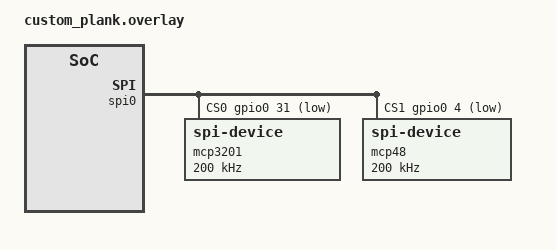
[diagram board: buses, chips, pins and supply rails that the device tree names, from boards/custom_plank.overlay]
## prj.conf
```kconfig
CONFIG_LOG=y
CONFIG_GPIO=y
CONFIG_SPI=y

CONFIG_SHELL=y
CONFIG_LOG_MODE_IMMEDIATE=y
```

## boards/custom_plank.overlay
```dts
/{
    aliases {
        spibus = &spi0;
    };
};

&spi0 {
    status = "okay";

    cs-gpios = <&gpio0 31 GPIO_ACTIVE_LOW>, <&gpio0 4 GPIO_ACTIVE_LOW>;

    mcp3201: mcp3201@0 {
        compatible = "spi-device";
        spi-max-frequency = <200000>;
        reg = <0>;
    };

    mcp48: mcp48@1 {
        compatible = "spi-device";
        spi-max-frequency = <200000>;
        reg = <1>;
    };
};
```

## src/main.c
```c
#include <zephyr/kernel.h>
#include <zephyr/drivers/gpio.h>
#include <zephyr/logging/log.h>
#include <zephyr/drivers/spi.h>
#include <zephyr/shell/shell.h>
#include <stdlib.h>

#define SPI_BUS DT_NODELABEL(spi0)
#define SPI_OP SPI_OP_MODE_MASTER | SPI_WORD_SET(8) | SPI_TRANSFER_MSB 
#define DAC_LDAC DT_NODELABEL(dac_ldac)

#define AMUX_EN DT_NODELABEL(amux_en)
#define AMUX_A0 DT_NODELABEL(amux_a0)
#define AMUX_A1 DT_NODELABEL(amux_a1)

LOG_MODULE_REGISTER(main);

static float current_dac[2] = {0.0f, 0.0f};
static float voltage_mode_offsets[3] = {0.0f, 0.0f, 0.0f}; // offsets for modes 0, 1, 2
static int amux_mode = 0; 
static bool continuous_sampling = false;
static K_THREAD_STACK_DEFINE(sampling_stack, 1024);
static struct k_thread sampling_thread;
static k_tid_t sampling_tid; 

void write_dac_channel(const struct device *spi_dev, int channel, float voltage, float vref)
{
	// Validate channel value
	if (channel < 0 || channel > 1)
	{
		LOG_ERR("Invalid DAC channel: %d", channel);
		return;
	}

	// Calculate DAC code based on voltage and reference (10-bit resolution)
	uint16_t code = (uint16_t)((voltage / vref) * 1023.0f);
	
	// Build command: shift channel into position and split code into two bytes
	uint8_t addr = channel << 3 | 0b00 << 1;
	uint8_t cmd[3] = { addr, (uint8_t)((code >> 8) & 0x03), (uint8_t)(code & 0xFF) };

    struct spi_buf tx_buf = { .buf = cmd, .len = sizeof(cmd) };
    struct spi_buf_set tx_bufs = { .buffers = &tx_buf, .count = 1 };

    const struct spi_config spi_cfg = {
        .frequency = DT_PROP(SPI_BUS, clock_frequency),
        .operation = SPI_OP,
        .cs = SPI_CS_CONTROL_INIT(DT_NODELABEL(mcp48), 0U),
    };

    int ret = spi_write(spi_dev, &spi_cfg, &tx_bufs);
    if (ret) {
        LOG_ERR("spi_write failed: %d", ret);
    }
}

void read_adc(const struct device *spi_dev, float *voltage, float vref)
{

	uint8_t rx_buf[2] = {0};
	struct spi_buf rx_bufs = {.buf = rx_buf, .len = sizeof(rx_buf)};
	struct spi_buf_set rx_set = {.buffers = &rx_bufs, .count = 1};

	const struct spi_config spi_cfg = {
		.frequency = DT_PROP(SPI_BUS, clock_frequency),
		.operation = SPI_OP,
		.cs = SPI_CS_CONTROL_INIT(DT_NODELABEL(mcp3201), 0U),
	};

	int ret = spi_read(spi_dev, &spi_cfg, &rx_set);
	if (ret)
	{
		LOG_ERR("spi_read failed: %d", ret);
		return;
	}

	// Process received ADC value
	uint16_t adc_code = rx_buf[0] << 8 | rx_buf[1];
	adc_code = adc_code;
	// print out hex code 0xXXX
	// LOG_INF("ADC Code: 0x%03X", adc_code);

	*voltage = ((float)adc_code / 8192.0f) * vref;

	// LOG_INF("ADC Voltage: %.3f V", *voltage);

	return;
}

float voltage = 0.0f;

static int handle_shell_write_dac(const struct shell *shell, size_t argc, char **argv)
{

	if (argc != 3)
	{
		shell_print(shell, "Usage: dac write <channel> <voltage>");
		shell_print(shell, "       channel: 0 or 1");
		shell_print(shell, "       voltage: voltage value in range 0-3.3V");
		return -1;
	}

	int channel = atoi(argv[1]);
	
	// Parse the voltage value
	double voltage = atof(argv[2]);
	if (voltage < 0.0 || voltage > 3.3) {
		shell_print(shell, "Warning: Voltage %.3f V is outside the recommended range (0-3.3V)", voltage);
	}
	
	struct device *spi_dev = DEVICE_DT_GET(SPI_BUS);
	write_dac_channel(spi_dev, channel, (float)voltage, 3.3f);
	
	// Calculate code for display purposes (10-bit DAC)
	uint16_t code = (uint16_t)((voltage / 3.3f) * 1023.0f);

	// ldac pulse
	struct gpio_dt_spec dac_ldac = GPIO_DT_SPEC_GET(DAC_LDAC, gpios);
	gpio_pin_set_dt(&dac_ldac, 0);
	k_msleep(10);
	gpio_pin_set_dt(&dac_ldac, 1);
	k_msleep(10);
	gpio_pin_set_dt(&dac_ldac, 0);

	// Update the global DAC configuration and print out the current settings
	if (channel >= 0 && channel < 2) {
		current_dac[channel] = (float)voltage;
	}
	shell_print(shell, "DAC Channel %d set to %.3f V (10-bit code: %u)", 
		channel, voltage, code);
	shell_print(shell, "Current DAC configuration: Channel 0: %.3f V, Channel 1: %.3f V", 
		current_dac[0], current_dac[1]);

	return 0;
}

static int handle_shell_read_dac(const struct shell *shell, size_t argc, char **argv)
{
	shell_print(shell, "Current DAC configuration: Channel 0: %.3f V, Channel 1: %.3f V", current_dac[0], current_dac[1]);
	return 0;
}

SHELL_STATIC_SUBCMD_SET_CREATE(sub_dac,
	SHELL_CMD(write, NULL, "Set DAC: <channel> <voltage>", handle_shell_write_dac),
	SHELL_CMD(read, NULL, "Show current DAC configuration", handle_shell_read_dac),
	SHELL_SUBCMD_SET_END
);

SHELL_CMD_REGISTER(dac, &sub_dac, "DAC commands", NULL);

static int handle_shell_read_adc(const struct shell *shell, size_t argc, char **argv)
{
	struct device *spi_dev = DEVICE_DT_GET(SPI_BUS);
	float adc_voltage = 0.0f;
	read_adc(spi_dev, &adc_voltage, 2.520f);

	// calculate current	
	float current_reading;
	float scale_factor;
	char *unit;
	switch (amux_mode) {
		case 0:
			current_reading = -1 * (adc_voltage - current_dac[1]) / 10e6; // 10M resistor
			unit = "pA";
			scale_factor = 1e12;
			break;
		case 1:
			current_reading = -1 * (adc_voltage - current_dac[1]) / 146e3; // 100k resistor
			unit = "nA";
			scale_factor = 1e9;
			break;
		case 2:
			current_reading = -1 * (adc_voltage - current_dac[1]) / 1e3; // 1k resistor
			unit = "uA";
			scale_factor = 1e6;
			break;
		default:
			current_reading = 0.0f; // Should not reach here
			unit = "A";
			scale_factor = 1.0f;
			break;
	}

	shell_print(shell, "Current: %.3f %s", current_reading * scale_factor, unit);
	return 0;
}

// Thread function for continuous ADC sampling
void continuous_sampling_thread(void *arg1, void *arg2, void *arg3)
{
    struct device *spi_dev = DEVICE_DT_GET(SPI_BUS);
    float adc_voltage;
    int sample_count = 0;
    
    ARG_UNUSED(arg1);
    ARG_UNUSED(arg2);
    ARG_UNUSED(arg3);
    
    while (continuous_sampling) {
        read_adc(spi_dev, &adc_voltage, 2.520f);
        
        // Calculate current based on the AMUX mode
        float current_reading;
        float scale_factor;
        char *unit;
        switch (amux_mode) {
            case 0:
                current_reading = -1 * (adc_voltage - voltage_mode_offsets[0] - current_dac[1]) / 10e6;
                unit = "pA";
                scale_factor = 1e12;
                break;
            case 1:
                current_reading = -1 * (adc_voltage - voltage_mode_offsets[1] - current_dac[1]) / 146e3;
                unit = "nA";
                scale_factor = 1e9;
                break;
            case 2:
                current_reading = -1 * (adc_voltage - voltage_mode_offsets[2] - current_dac[1]) / 1e3;
                unit = "uA";
                scale_factor = 1e6;
                break;
            default:
                current_reading = 0.0f;
                unit = "A";
                scale_factor = 1.0f;
                break;
        }
        
        printk("Sample %d: Current = %.3f %s\n", sample_count++, current_reading * scale_factor, unit);
        k_msleep(100); // Sample every 100ms
    }
}

// Command to control continuous sampling mode
static int handle_shell_adc_continuous(const struct shell *shell, size_t argc, char **argv)
{
    if (argc != 2) {
        shell_print(shell, "Usage: adc continuous <on|off>");
        return -1;
    }
    
    if (strcmp(argv[1], "on") == 0) {
        if (continuous_sampling) {
            shell_print(shell, "Continuous sampling is already running");
            return 0;
        }
        
        continuous_sampling = true;
        shell_print(shell, "Starting continuous ADC sampling...");
        
        // Start sampling thread
        sampling_tid = k_thread_create(&sampling_thread, sampling_stack,
                                     K_THREAD_STACK_SIZEOF(sampling_stack),
                                     continuous_sampling_thread,
                                     NULL, NULL, NULL,
                                     5, 0, K_NO_WAIT);
        
        k_thread_name_set(sampling_tid, "adc_sampling");
        
    } else if (strcmp(argv[1], "off") == 0) {
        if (!continuous_sampling) {
            shell_print(shell, "Continuous sampling is not running");
            return 0;
        }
        
        continuous_sampling = false;
        shell_print(shell, "Stopping continuous ADC sampling...");
        
        // Thread will terminate itself when continuous_sampling becomes false
        k_thread_join(&sampling_thread, K_SECONDS(1));
        
    } else {
        shell_print(shell, "Invalid argument: %s (must be 'on' or 'off')", argv[1]);
        return -1;
    }
    
    return 0;
}

SHELL_STATIC_SUBCMD_SET_CREATE(sub_adc,
	SHELL_CMD(read, NULL, "Read ADC value", handle_shell_read_adc),
    SHELL_CMD(continuous, NULL, "Start/stop continuous sampling: <on|off>", handle_shell_adc_continuous),
	SHELL_SUBCMD_SET_END
);

SHELL_CMD_REGISTER(adc, &sub_adc, "ADC commands", NULL);

static int handle_shell_set_amux_mode(const struct shell *shell, size_t argc, char **argv)
{
	if (argc != 2) {
		shell_print(shell, "Usage: amux mode <N> where N = 0,1, or 2");
		return -1;
	}

	int mode = atoi(argv[1]);
	if (mode < 0 || mode > 2) {
		shell_print(shell, "Error: mode must be 0, 1, or 2");
		return -1;
	}

	int a0, a1;
	const char *resistor;
	switch (mode) {
		case 0:
			a0 = 0; a1 = 0; resistor = "10M"; break;
		case 1:
			a0 = 0; a1 = 1; resistor = "100k"; break;
		case 2:
			a0 = 1; a1 = 0; resistor = "1k"; break;
		default:
			return -1; // Should not reach here
	}

	amux_mode = mode;

	struct gpio_dt_spec amuxa0 = GPIO_DT_SPEC_GET(AMUX_A0, gpios);
	struct gpio_dt_spec amuxa1 = GPIO_DT_SPEC_GET(AMUX_A1, gpios);
	gpio_pin_set_dt(&amuxa0, a0);
	gpio_pin_set_dt(&amuxa1, a1);

	shell_print(shell, "Analog multiplexer set to mode %d: A0=%d, A1=%d, resistor: %s", mode, a0, a1, resistor);
	return 0;
}

SHELL_STATIC_SUBCMD_SET_CREATE(sub_amux,
	SHELL_CMD(mode, NULL, "Set analog multiplexer mode (0-2)", handle_shell_set_amux_mode),
	SHELL_SUBCMD_SET_END
);

SHELL_CMD_REGISTER(amux, &sub_amux, "Analog multiplexer commands", NULL);

// Helper function to ensure continuous sampling is off when exiting the application
static void app_exit_handler(void)
{
    if (continuous_sampling) {
        continuous_sampling = false;
        k_thread_join(&sampling_thread, K_SECONDS(1));
        printk("Stopped continuous sampling on exit\n");
    }
}

int main()
{
	// Register exit handler to clean up resources
	atexit(app_exit_handler);

	struct device *spi_dev = DEVICE_DT_GET(SPI_BUS);
	struct gpio_dt_spec dac_ldac = GPIO_DT_SPEC_GET(DAC_LDAC, gpios);
	gpio_pin_configure_dt(&dac_ldac, GPIO_OUTPUT_ACTIVE);

	struct gpio_dt_spec amuxen = GPIO_DT_SPEC_GET(AMUX_EN, gpios);
	struct gpio_dt_spec amuxa0 = GPIO_DT_SPEC_GET(AMUX_A0, gpios);
	struct gpio_dt_spec amuxa1 = GPIO_DT_SPEC_GET(AMUX_A1, gpios);

	gpio_pin_configure_dt(&amuxen, GPIO_OUTPUT_ACTIVE);
	gpio_pin_configure_dt(&amuxa0, GPIO_OUTPUT_INACTIVE);
	gpio_pin_configure_dt(&amuxa1, GPIO_OUTPUT_INACTIVE);

	gpio_pin_set_dt(&amuxen, 1);
	gpio_pin_set_dt(&amuxa0, 1);
	gpio_pin_set_dt(&amuxa1, 0);

	// default configs
	write_dac_channel(spi_dev, 0, 0.0f, 3.3f);
	write_dac_channel(spi_dev, 1, 1.25f, 3.3f);
	current_dac[0] = 0.0f;
	current_dac[1] = 1.25f;
	amux_mode = 2;

	while (1)
	{
		k_sleep(K_MSEC(333));
	}
	return 0;
}
```
